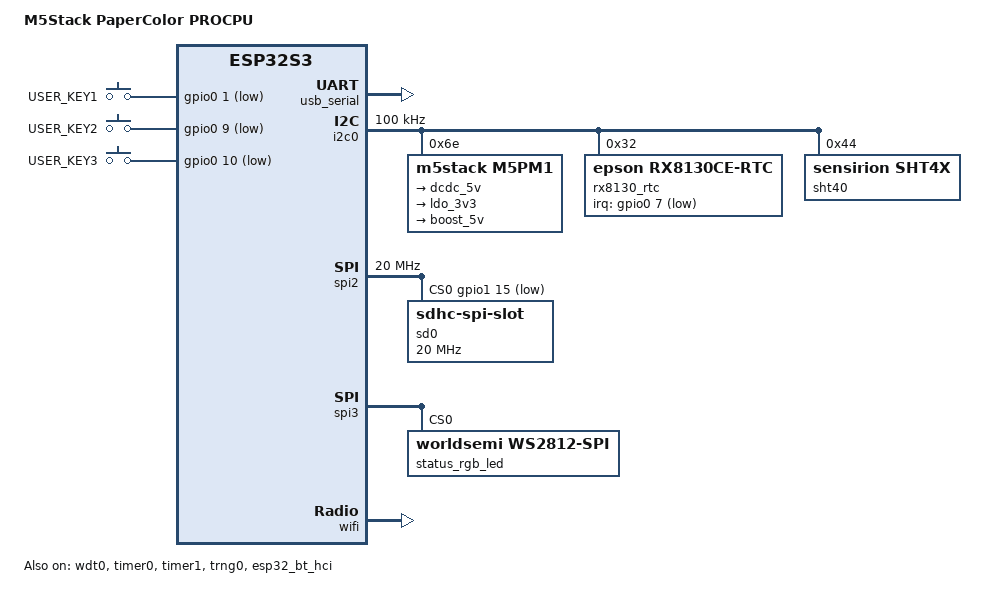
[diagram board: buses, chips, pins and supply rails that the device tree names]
/*
 * Copyright (c) 2026 Benjamin Cabé <benjamin@zephyrproject.org>
 *
 * SPDX-License-Identifier: Apache-2.0
 */
/dts-v1/;

#include <espressif/esp32s3/esp32s3_wroom_n16r8.dtsi>
#include "m5stack_papercolor-pinctrl.dtsi"
#include <zephyr/dt-bindings/i2c/i2c.h>
#include <zephyr/dt-bindings/input/input-event-codes.h>
#include <zephyr/dt-bindings/led/led.h>
#include <zephyr/dt-bindings/led/worldsemi_ws2812c.h>
#include <espressif/partitions_0x0_amp.dtsi>

/ {
	model = "M5Stack PaperColor PROCPU";
	compatible = "m5stack,papercolor";

	chosen {
		zephyr,sram = &sram1;
		zephyr,console = &usb_serial;
		zephyr,shell-uart = &usb_serial;
		zephyr,flash = &flash0;
		zephyr,code-partition = &slot0_partition;
		zephyr,rtc = &rx8130_rtc;
		zephyr,bt-hci = &esp32_bt_hci;
	};

	aliases {
		sw0 = &user_button_0;
		sw1 = &user_button_1;
		sw2 = &user_button_2;
		watchdog0 = &wdt0;
		i2c-0 = &i2c0;
		rtc = &rx8130_rtc;
		sdhc0 = &sd0;
		led-strip = &status_rgb_led;
	};

	buttons {
		compatible = "gpio-keys";
		debounce-interval-ms = <30>;

		user_button_0: button_0 {
			label = "USER_KEY1";
			gpios = <&gpio0 1 (GPIO_PULL_UP | GPIO_ACTIVE_LOW)>;
			zephyr,code = <INPUT_KEY_0>;
		};

		user_button_1: button_1 {
			label = "USER_KEY2";
			gpios = <&gpio0 9 (GPIO_PULL_UP | GPIO_ACTIVE_LOW)>;
			zephyr,code = <INPUT_KEY_1>;
		};

		user_button_2: button_2 {
			label = "USER_KEY3";
			gpios = <&gpio0 10 (GPIO_PULL_UP | GPIO_ACTIVE_LOW)>;
			zephyr,code = <INPUT_KEY_2>;
		};
	};
};

&usb_serial {
	status = "okay";
};

&i2c0 {
	status = "okay";
	clock-frequency = <I2C_BITRATE_STANDARD>;
	pinctrl-0 = <&i2c0_default>;
	pinctrl-names = "default";

	/* M5PM1 PMIC: gates EINK / SD / RGB / IR rails (LDO 3V3) and
	 * the Grove 5 V boost. The DCDC and BOOST rails are off by default;
	 * LDO is brought up at boot so consumers downstream are usable.
	 */
	m5pm1: m5pm1@6e {
		compatible = "m5stack,m5pm1";
		reg = <0x6e>;
		status = "okay";

		regulators {
			compatible = "m5stack,m5pm1-regulator";

			dcdc_5v: DCDC {
				regulator-name = "dcdc_5v";
			};

			ldo_3v3: LDO {
				regulator-name = "ldo_3v3";
				regulator-boot-on;
			};

			boost_5v: BOOST {
				regulator-name = "boost_5v";
			};
		};
	};

	rx8130_rtc: rx8130@32 {
		compatible = "epson,rx8130ce-rtc";
		reg = <0x32>;
		irq-gpios = <&gpio0 7 GPIO_ACTIVE_LOW>;
	};

	sht40: sht4x@44 {
		compatible = "sensirion,sht4x";
		reg = <0x44>;
		repeatability = <2>;
	};
};

&spi2 {
	#address-cells = <1>;
	#size-cells = <0>;
	status = "okay";
	pinctrl-0 = <&spim2_default>;
	pinctrl-names = "default";
	clock-frequency = <20000000>;
	cs-gpios = <&gpio1 15 GPIO_ACTIVE_LOW>; /* GPIO47 -> Card_CS */

	sd0: sd@0 {
		compatible = "zephyr,sdhc-spi-slot";
		reg = <0>;
		status = "okay";
		spi-max-frequency = <20000000>;

		mmc {
			compatible = "zephyr,sdmmc-disk";
			disk-name = "SD";
			status = "okay";
		};
	};
};

&spi3 {
	#address-cells = <1>;
	#size-cells = <0>;
	status = "okay";
	line-idle-low;
	pinctrl-0 = <&spim3_ws2812_led>;
	pinctrl-names = "default";

	status_rgb_led: ws2812@0 {
		compatible = "worldsemi,ws2812-spi";
		reg = <0>;
		spi-max-frequency = <WS2812C_SPI_FREQ>;

		chain-length = <2>;
		color-mapping = <LED_COLOR_ID_GREEN>,
				<LED_COLOR_ID_RED>,
				<LED_COLOR_ID_BLUE>;
		spi-one-frame = <WS2812C_ONE_FRAME>;
		spi-zero-frame = <WS2812C_ZERO_FRAME>;
	};
};

&gpio0 {
	status = "okay";
};

&gpio1 {
	status = "okay";
};

&wdt0 {
	status = "okay";
};

&timer0 {
	status = "okay";
};

&timer1 {
	status = "okay";
};

&trng0 {
	status = "okay";
};

&esp32_bt_hci {
	status = "okay";
};

&wifi {
	status = "okay";
};
